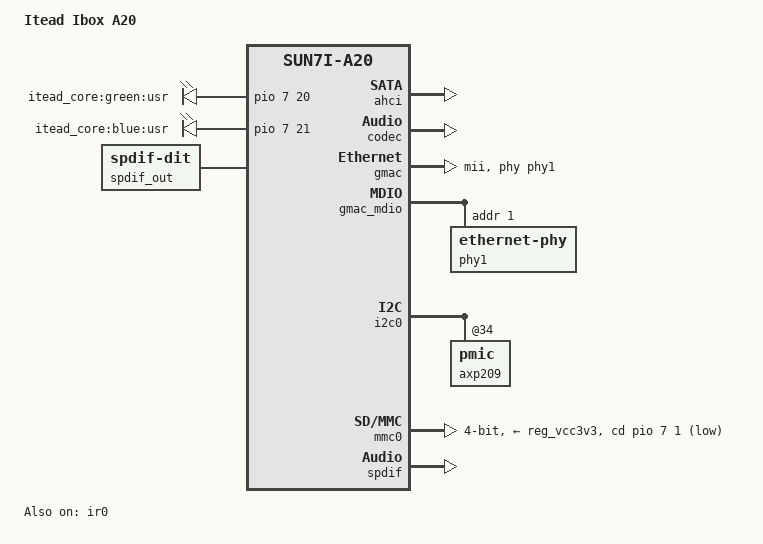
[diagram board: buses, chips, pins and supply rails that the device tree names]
/*
 * Copyright 2015 - Marcus Cooper <codekipper@gmail.com>
 *
 * This file is dual-licensed: you can use it either under the terms
 * of the GPL or the X11 license, at your option. Note that this dual
 * licensing only applies to this file, and not this project as a
 * whole.
 *
 *  a) This file is free software; you can redistribute it and/or
 *     modify it under the terms of the GNU General Public License as
 *     published by the Free Software Foundation; either version 2 of the
 *     License, or (at your option) any later version.
 *
 *     This file is distributed in the hope that it will be useful,
 *     but WITHOUT ANY WARRANTY; without even the implied warranty of
 *     MERCHANTABILITY or FITNESS FOR A PARTICULAR PURPOSE.  See the
 *     GNU General Public License for more details.
 *
 * Or, alternatively,
 *
 *  b) Permission is hereby granted, free of charge, to any person
 *     obtaining a copy of this software and associated documentation
 *     files (the "Software"), to deal in the Software without
 *     restriction, including without limitation the rights to use,
 *     copy, modify, merge, publish, distribute, sublicense, and/or
 *     sell copies of the Software, and to permit persons to whom the
 *     Software is furnished to do so, subject to the following
 *     conditions:
 *
 *     The above copyright notice and this permission notice shall be
 *     included in all copies or substantial portions of the Software.
 *
 *     THE SOFTWARE IS PROVIDED "AS IS", WITHOUT WARRANTY OF ANY KIND,
 *     EXPRESS OR IMPLIED, INCLUDING BUT NOT LIMITED TO THE WARRANTIES
 *     OF MERCHANTABILITY, FITNESS FOR A PARTICULAR PURPOSE AND
 *     NONINFRINGEMENT. IN NO EVENT SHALL THE AUTHORS OR COPYRIGHT
 *     HOLDERS BE LIABLE FOR ANY CLAIM, DAMAGES OR OTHER LIABILITY,
 *     WHETHER IN AN ACTION OF CONTRACT, TORT OR OTHERWISE, ARISING
 *     FROM, OUT OF OR IN CONNECTION WITH THE SOFTWARE OR THE USE OR
 *     OTHER DEALINGS IN THE SOFTWARE.
 */

/dts-v1/;
#include "sun7i-a20.dtsi"
#include "sunxi-itead-core-common.dtsi"

/ {
	model = "Itead Ibox A20";
	compatible = "itead,itead-ibox-a20", "allwinner,sun7i-a20";

	leds {
		compatible = "gpio-leds";
		pinctrl-names = "default";
		pinctrl-0 = <&led_pins_itead_core>;

		green {
			label = "itead_core:green:usr";
			gpios = <&pio 7 20 GPIO_ACTIVE_HIGH>;
			default-state = "on";
		};

		blue {
			label = "itead_core:blue:usr";
			gpios = <&pio 7 21 GPIO_ACTIVE_HIGH>;
			default-state = "on";
		};
	};

	sound {
		compatible = "simple-audio-card";
		simple-audio-card,name = "On-board SPDIF";

		simple-audio-card,cpu {
			sound-dai = <&spdif>;
		};

		simple-audio-card,codec {
			sound-dai = <&spdif_out>;
		};
	};

	spdif_out: spdif-out {
		#sound-dai-cells = <0>;
		compatible = "linux,spdif-dit";
	};
};

&ahci {
	target-supply = <&reg_ahci_5v>;
	status = "okay";
};

&codec {
	status = "okay";
};

&gmac {
	pinctrl-names = "default";
	pinctrl-0 = <&gmac_mii_pins>;
	phy-handle = <&phy1>;
	phy-mode = "mii";
	status = "okay";
};

&gmac_mdio {
	phy1: ethernet-phy@1 {
		reg = <1>;
	};
};

&i2c0 {
	axp209: pmic@34 {
		interrupt-parent = <&nmi_intc>;
		interrupts = <0 IRQ_TYPE_LEVEL_LOW>;
	};
};

&ir0 {
	pinctrl-names = "default";
	pinctrl-0 = <&ir0_rx_pin>;
	status = "okay";
};

&mmc0 {
	vmmc-supply = <&reg_vcc3v3>;
	bus-width = <4>;
	cd-gpios = <&pio 7 1 GPIO_ACTIVE_LOW>; /* PH1 */
	status = "okay";
};

&pio {
	led_pins_itead_core: led-pins {
		pins = "PH20","PH21";
		function = "gpio_out";
		drive-strength = <20>;
	};
};

&reg_ahci_5v {
	status = "okay";
};

&spdif {
	pinctrl-names = "default";
	pinctrl-0 = <&spdif_tx_pin>;
	status = "okay";
};
